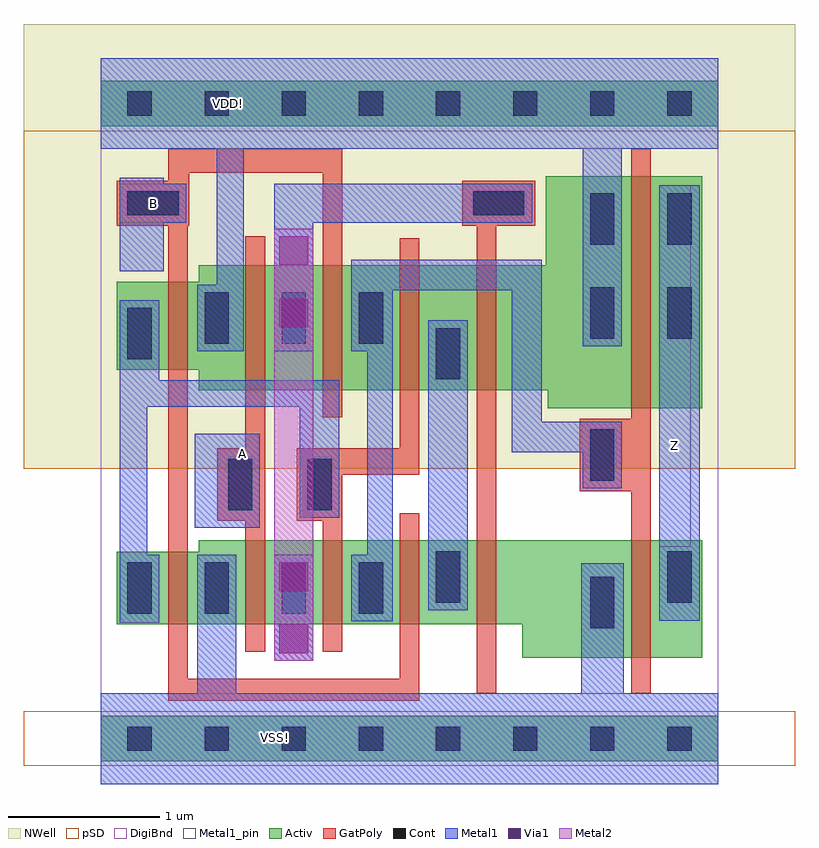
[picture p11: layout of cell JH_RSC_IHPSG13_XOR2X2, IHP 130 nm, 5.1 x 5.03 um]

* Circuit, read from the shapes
.subckt JH_RSC_IHPSG13_XOR2X2 A B VDD! VSS! Z
XM1 VSS! B n1 VSS! sg13_lv_nmos w=0.48u l=0.13u
XM2 n2 A VSS! VSS! sg13_lv_nmos w=0.555u l=0.13u
XM3 n3 n1 n2 VSS! sg13_lv_nmos w=0.555u l=0.13u
XM4 n4 B n3 VSS! sg13_lv_nmos w=0.555u l=0.13u
XM5 VSS! n2 n4 VSS! sg13_lv_nmos w=0.555u l=0.13u
XM6 Z n3 VSS! VSS! sg13_lv_nmos w=0.775u l=0.13u
XM7 VDD! B n1 VDD! sg13_lv_pmos w=0.58u l=0.13u
XM8 n2 A VDD! VDD! sg13_lv_pmos w=0.825u l=0.13u
XM9 n3 B n2 VDD! sg13_lv_pmos w=0.825u l=0.13u
XM10 n4 n1 n3 VDD! sg13_lv_pmos w=0.825u l=0.13u
XM11 VDD! n2 n4 VDD! sg13_lv_pmos w=0.825u l=0.13u
XM12 Z n3 VDD! VDD! sg13_lv_pmos w=1.535u l=0.13u
.ends

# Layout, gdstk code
import gdstk
lib = gdstk.Library(unit=1e-6, precision=1e-09)
def R(c, l, rs):  # rectangles x0, y0, x1, y1
    for r in rs: c.add(gdstk.rectangle(r[:2], r[2:], *l))
def A(c, l, x, y, w, h, nx, ny, dx, dy):  # array of equal rectangles
    R(c, l, [(x+i*dx, y+j*dy, x+i*dx+w, y+j*dy+h) for i in range(nx) for j in range(ny)])
def P(c, l, *ps):  # polygons
    for p in ps: c.add(gdstk.Polygon(p, *l))
Activ = (1, 0)
GatPoly = (5, 0)
Cont = (6, 0)
Metal1 = (8, 0)
Metal1_pin = (8, 2)
Metal2 = (10, 0)
pSD = (14, 0)
DigiBnd = (16, 0)
Via1 = (19, 0)
NWell = (31, 0)

jh_rsc_ihpsg13_xor2x2 = lib.new_cell('JH_RSC_IHPSG13_XOR2X2')
R(jh_rsc_ihpsg13_xor2x2, Activ, [(0,-0.15,4.08,0.15), (0,4.05,4.08,4.35)])
P(jh_rsc_ihpsg13_xor2x2, Activ, [(2.785,0.535),(2.785,0.755),(0.105,0.755),(0.105,1.235),(0.645,1.235),(0.645,1.31),(3.975,1.31),(3.975,0.535)],
  [(2.955,2.185),(2.955,2.305),(0.645,2.305),(0.645,2.44),(0.105,2.44),(0.105,3.02),(0.645,3.02),(0.645,3.13),(2.94,3.13),(2.94,3.72),(3.975,3.72),(3.975,2.185)])
P(jh_rsc_ihpsg13_xor2x2, GatPoly, [(3.505,0.3),(3.505,1.635),(3.165,1.635),(3.165,2.115),(3.505,2.115),(3.505,3.9),(3.635,3.9),(3.635,0.3)],
  [(2.485,0.3),(2.485,3.39),(2.39,3.39),(2.39,3.69),(2.87,3.69),(2.87,3.39),(2.615,3.39),(2.615,0.3)],
  [(1.465,0.575),(1.465,1.44),(1.295,1.44),(1.295,1.92),(1.975,1.92),(1.975,3.31),(2.105,3.31),(2.105,1.745),(1.595,1.745),(1.595,0.575)],
  [(0.955,0.575),(0.955,1.44),(0.77,1.44),(0.77,1.92),(0.955,1.92),(0.955,3.32),(1.085,3.32),(1.085,0.575)],
  [(0.445,0.25),(0.445,3.39),(0.105,3.39),(0.105,3.69),(0.445,3.69),(0.445,3.9),(1.595,3.9),(1.595,2.125),(1.465,2.125),(1.465,3.74),(0.585,3.74),(0.585,3.39),(0.575,3.39),(0.575,0.395),(1.975,0.395),(1.975,1.49),(2.105,1.49),(2.105,0.25)])
A(jh_rsc_ihpsg13_xor2x2, Cont, 0.175, -0.08, 0.16, 0.16, 8, 2, 0.51, 4.2)
A(jh_rsc_ihpsg13_xor2x2, Cont, 0.175, 0.825, 0.16, 0.34, 4, 1, 0.51, 0)
A(jh_rsc_ihpsg13_xor2x2, Cont, 0.685, 2.61, 0.16, 0.34, 3, 1, 0.51, 0)
R(jh_rsc_ihpsg13_xor2x2, Cont, [(3.235,0.73,3.395,1.07), (2.215,0.9,2.375,1.24), (3.745,0.9,3.905,1.24), (0.84,1.51,1,1.85), (1.365,1.51,1.525,1.85), (3.235,1.705,3.395,2.045), (2.215,2.375,2.375,2.715), (0.175,2.51,0.335,2.85), (3.235,2.645,3.395,2.985), (3.745,2.645,3.905,2.985), (3.235,3.265,3.395,3.605), (3.745,3.265,3.905,3.605), (0.175,3.46,0.515,3.62), (2.46,3.46,2.8,3.62)])
R(jh_rsc_ihpsg13_xor2x2, Metal1, [(1.145,0.515,1.405,1.215), (3.69,0.78,3.96,3.66), (2.165,0.85,2.425,2.765), (0.62,1.395,1.05,2.015)])
P(jh_rsc_ihpsg13_xor2x2, Metal1, [(1.655,0.775),(1.655,1.215),(1.76,1.215),(1.76,2.56),(1.655,2.56),(1.655,3.165),(2.915,3.165),(2.915,2.095),(3.445,2.095),(3.445,1.655),(3.185,1.655),(3.185,1.895),(2.715,1.895),(2.715,2.965),(1.93,2.965),(1.93,0.775)],
  [(1.145,2.56),(1.145,3.67),(2.85,3.67),(2.85,3.41),(1.405,3.41),(1.405,2.56)],
  [(0.125,0.765),(0.125,2.9),(0.385,2.9),(0.385,2.37),(1.575,2.37),(1.575,1.46),(1.315,1.46),(1.315,2.195),(0.305,2.195),(0.305,1.215),(0.385,1.215),(0.385,0.765)],
  [(0.125,3.09),(0.125,3.71),(0.415,3.71),(0.415,3.67),(0.565,3.67),(0.565,3.41),(0.415,3.41),(0.415,3.09)],
  [(0,-0.3),(0,0.3),(0.635,0.3),(0.635,1.215),(0.895,1.215),(0.895,0.3),(3.175,0.3),(3.175,1.16),(3.455,1.16),(3.455,0.3),(4.08,0.3),(4.08,-0.3)],
  [(0.635,2.56),(0.635,3),(0.765,3),(0.765,3.9),(0,3.9),(0,4.5),(4.08,4.5),(4.08,3.9),(3.445,3.9),(3.445,2.595),(3.185,2.595),(3.185,3.9),(0.945,3.9),(0.945,2.56)])
R(jh_rsc_ihpsg13_xor2x2, Metal1_pin, [(0,-0.3,4.08,0.3), (3.69,1.27,3.9,3.66), (0.62,1.395,1.05,2.015), (0.125,3.41,0.565,3.67), (0,3.9,4.08,4.5)])
R(jh_rsc_ihpsg13_xor2x2, Metal2, [(1.145,0.515,1.405,3.37)])
R(jh_rsc_ihpsg13_xor2x2, pSD, [(-0.51,-0.18,4.59,0.18), (-0.51,1.785,4.59,4.02)])
R(jh_rsc_ihpsg13_xor2x2, DigiBnd, [(0,-0.3,4.08,4.5)])
R(jh_rsc_ihpsg13_xor2x2, Via1, [(1.18,0.565,1.37,0.755), (1.18,0.975,1.37,1.165), (1.18,2.72,1.37,2.91), (1.18,3.13,1.37,3.32)])
R(jh_rsc_ihpsg13_xor2x2, NWell, [(-0.51,1.785,4.59,4.725)])
jh_rsc_ihpsg13_xor2x2.add(gdstk.Label('VSS!', (1.155,0.005), layer=8, texttype=2))
jh_rsc_ihpsg13_xor2x2.add(gdstk.Label('VDD!', (0.84,4.2), layer=8, texttype=2))
jh_rsc_ihpsg13_xor2x2.add(gdstk.Label('Z', (3.795,1.935), layer=8, texttype=2))
jh_rsc_ihpsg13_xor2x2.add(gdstk.Label('B', (0.345,3.54), layer=8, texttype=2))
jh_rsc_ihpsg13_xor2x2.add(gdstk.Label('A', (0.935,1.885), layer=8, texttype=2))

lib.write_gds('JH_RSC_IHPSG13_XOR2X2.gds')
